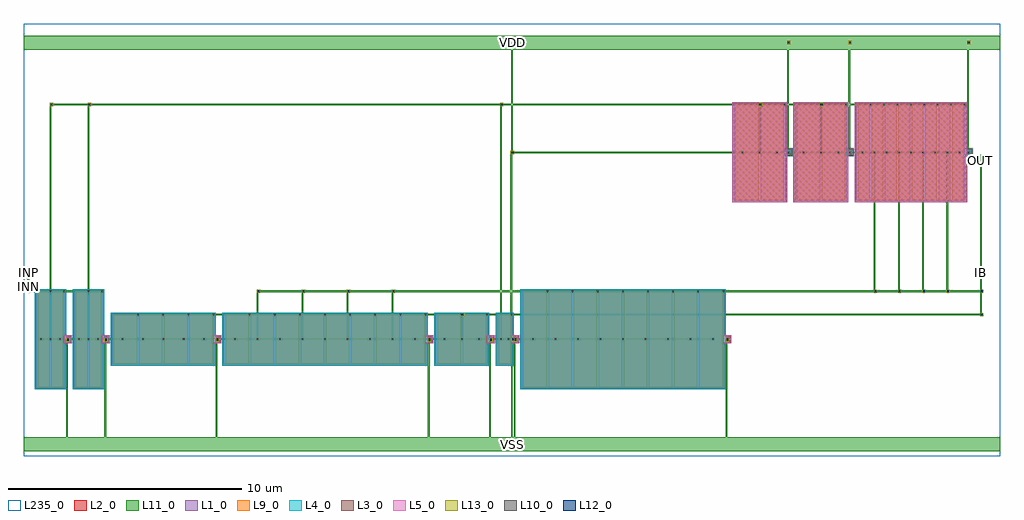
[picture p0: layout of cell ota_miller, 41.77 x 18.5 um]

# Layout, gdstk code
import gdstk
lib = gdstk.Library(unit=1e-6, precision=5e-10)
def R(c, l, rs):  # rectangles x0, y0, x1, y1
    for r in rs: c.add(gdstk.rectangle(r[:2], r[2:], *l))
def A(c, l, x, y, w, h, nx, ny, dx, dy):  # array of equal rectangles
    R(c, l, [(x+i*dx, y+j*dy, x+i*dx+w, y+j*dy+h) for i in range(nx) for j in range(ny)])
def P(c, l, *ps):  # polygons
    for p in ps: c.add(gdstk.Polygon(p, *l))
L1_0 = (1, 0)
L2_0 = (2, 0)
L3_0 = (3, 0)
L4_0 = (4, 0)
L5_0 = (5, 0)
L9_0 = (9, 0)
L10_0 = (10, 0)
L11_0 = (11, 0)
L12_0 = (12, 0)
L13_0 = (13, 0)
L235_0 = (235, 0)

ota_miller = lib.new_cell('ota_miller')
R(ota_miller, L1_0, [(0.53,2.93,1.745,7.07), (2.155,2.93,3.37,7.07), (21.305,2.93,29.97,7.07), (3.78,3.93,8.145,6.07), (8.555,3.93,17.22,6.07), (17.63,3.93,19.845,6.07), (20.255,3.93,20.895,6.07), (1.78,4.9,1.98,5.1), (3.405,4.9,3.605,5.1), (8.18,4.9,8.38,5.1), (17.255,4.9,17.455,5.1), (19.88,4.9,20.08,5.1), (20.93,4.9,21.13,5.1), (30.005,4.9,30.205,5.1), (30.38,10.93,32.595,15.07), (33.005,10.93,35.22,15.07), (35.63,10.93,40.295,15.07), (32.63,12.9,32.83,13.1), (35.255,12.9,35.455,13.1), (40.33,12.9,40.53,13.1)])
R(ota_miller, L2_0, [(0.475,2.875,1.8,7.125), (0.475,2.875,1.8,7.125), (2.1,2.875,3.425,7.125), (2.1,2.875,3.425,7.125), (21.25,2.875,30.025,7.125), (21.25,2.875,30.025,7.125), (3.725,3.875,8.2,6.125), (3.725,3.875,8.2,6.125), (8.5,3.875,17.275,6.125), (8.5,3.875,17.275,6.125), (17.575,3.875,19.9,6.125), (17.575,3.875,19.9,6.125), (20.2,3.875,20.95,6.125), (20.2,3.875,20.95,6.125), (1.73,4.85,2.03,5.15), (3.355,4.85,3.655,5.15), (8.13,4.85,8.43,5.15), (17.205,4.85,17.505,5.15), (19.83,4.85,20.13,5.15), (20.88,4.85,21.18,5.15), (29.955,4.85,30.255,5.15)])
R(ota_miller, L3_0, [(30.325,10.875,32.65,15.125), (30.325,10.875,32.65,15.125), (32.95,10.875,35.275,15.125), (32.95,10.875,35.275,15.125), (35.575,10.875,40.35,15.125), (35.575,10.875,40.35,15.125), (32.58,12.85,32.88,13.15), (35.205,12.85,35.505,13.15), (40.28,12.85,40.58,13.15)])
R(ota_miller, L4_0, [(0.46,2.86,1.815,7.14), (2.085,2.86,3.44,7.14), (21.235,2.86,30.04,7.14), (3.71,3.86,8.215,6.14), (8.485,3.86,17.29,6.14), (17.56,3.86,19.915,6.14), (20.185,3.86,20.965,6.14), (32.56,12.83,32.9,13.17), (35.185,12.83,35.525,13.17), (40.26,12.83,40.6,13.17)])
R(ota_miller, L5_0, [(1.71,4.83,2.05,5.17), (3.335,4.83,3.675,5.17), (8.11,4.83,8.45,5.17), (17.185,4.83,17.525,5.17), (19.81,4.83,20.15,5.17), (20.86,4.83,21.2,5.17), (29.935,4.83,30.275,5.17), (30.31,10.86,32.665,15.14), (32.935,10.86,35.29,15.14), (35.56,10.86,40.365,15.14)])
A(ota_miller, L9_0, 21.375, 2.945, 1, 4.11, 8, 1, 1.075, 0)
A(ota_miller, L9_0, 3.85, 3.945, 1, 2.11, 4, 1, 1.075, 0)
A(ota_miller, L9_0, 8.625, 3.945, 1, 2.11, 8, 1, 1.075, 0)
A(ota_miller, L9_0, 35.7, 10.945, 0.5, 4.11, 8, 1, 0.575, 0)
R(ota_miller, L9_0, [(0.6,2.945,1.1,7.055), (1.175,2.945,1.675,7.055), (2.225,2.945,2.725,7.055), (2.8,2.945,3.3,7.055), (17.7,3.945,18.7,6.055), (18.775,3.945,19.775,6.055), (20.325,3.945,20.825,6.055), (30.45,10.945,31.45,15.055), (31.525,10.945,32.525,15.055), (33.075,10.945,34.075,15.055), (34.15,10.945,35.15,15.055)])
A(ota_miller, L10_0, 0.7, 4.97, 0.065, 0.065, 3, 1, 0.405, 0)
A(ota_miller, L10_0, 2.325, 4.97, 0.065, 0.065, 3, 1, 0.405, 0)
A(ota_miller, L10_0, 5.055, 4.97, 0.065, 0.065, 3, 1, 0.875, 0)
A(ota_miller, L10_0, 11.89, 4.97, 0.065, 0.065, 3, 1, 0.965, 0)
A(ota_miller, L10_0, 17.965, 4.97, 0.065, 0.065, 3, 1, 0.74, 0)
A(ota_miller, L10_0, 24.64, 4.97, 0.065, 0.065, 3, 1, 0.965, 0)
A(ota_miller, L10_0, 4.85, 6.02, 0.065, 0.07, 4, 1, 1.075, 0)
A(ota_miller, L10_0, 9.625, 6.02, 0.065, 0.07, 8, 1, 1.075, 0)
A(ota_miller, L10_0, 22.375, 7.02, 0.065, 0.07, 8, 1, 1.075, 0)
A(ota_miller, L10_0, 30.715, 12.97, 0.065, 0.06, 3, 1, 0.74, 0)
A(ota_miller, L10_0, 33.34, 12.97, 0.065, 0.06, 3, 1, 0.74, 0)
A(ota_miller, L10_0, 35.855, 12.97, 0.065, 0.06, 3, 1, 0.52, 0)
A(ota_miller, L10_0, 37.41, 12.97, 0.065, 0.06, 3, 1, 0.52, 0)
A(ota_miller, L10_0, 38.965, 12.97, 0.065, 0.06, 3, 1, 0.52, 0)
A(ota_miller, L10_0, 36.2, 15.02, 0.065, 0.065, 8, 1, 0.575, 0)
R(ota_miller, L10_0, [(1.85,4.97,1.91,5.035), (3.47,4.97,3.535,5.035), (4.185,4.97,4.25,5.035), (7.675,4.97,7.74,5.035), (8.25,4.97,8.31,5.035), (9.005,4.97,9.07,5.035), (9.965,4.97,10.03,5.035), (10.93,4.97,10.995,5.035), (14.78,4.97,14.845,5.035), (15.745,4.97,15.81,5.035), (16.705,4.97,16.77,5.035), (17.32,4.97,17.39,5.035), (19.95,4.97,20.015,5.035), (20.385,4.97,20.45,5.035), (20.705,4.97,20.77,5.035), (21,4.97,21.065,5.035), (21.755,4.97,21.82,5.035), (22.715,4.97,22.78,5.035), (23.68,4.97,23.745,5.035), (27.53,4.97,27.595,5.035), (28.495,4.97,28.56,5.035), (29.455,4.97,29.52,5.035), (30.075,4.97,30.14,5.035), (18.7,6.02,18.765,6.09), (19.775,6.02,19.84,6.09), (20.825,6.02,20.89,6.09), (1.1,7.02,1.165,7.09), (1.675,7.02,1.74,7.09), (2.725,7.02,2.79,7.09), (3.3,7.02,3.365,7.09), (32.7,12.97,32.76,13.03), (35.325,12.97,35.39,13.03), (40.4,12.97,40.46,13.03), (31.45,15.02,31.515,15.085), (32.525,15.02,32.59,15.085), (34.075,15.02,34.14,15.085), (35.15,15.02,35.215,15.085)])
A(ota_miller, L11_0, 0.665, 4.93, 0.135, 0.14, 3, 1, 0.405, 0)
A(ota_miller, L11_0, 2.29, 4.93, 0.135, 0.14, 3, 1, 0.405, 0)
A(ota_miller, L11_0, 5.02, 4.93, 0.135, 0.14, 3, 1, 0.875, 0)
A(ota_miller, L11_0, 11.855, 4.93, 0.135, 0.14, 3, 1, 0.965, 0)
A(ota_miller, L11_0, 17.93, 4.93, 0.135, 0.14, 3, 1, 0.74, 0)
A(ota_miller, L11_0, 24.605, 4.93, 0.135, 0.14, 3, 1, 0.965, 0)
A(ota_miller, L11_0, 0.7, 4.97, 0.065, 0.065, 3, 1, 0.405, 0)
A(ota_miller, L11_0, 2.325, 4.97, 0.065, 0.065, 3, 1, 0.405, 0)
A(ota_miller, L11_0, 5.055, 4.97, 0.065, 0.065, 3, 1, 0.875, 0)
A(ota_miller, L11_0, 11.89, 4.97, 0.065, 0.065, 3, 1, 0.965, 0)
A(ota_miller, L11_0, 17.965, 4.97, 0.065, 0.065, 3, 1, 0.74, 0)
A(ota_miller, L11_0, 24.64, 4.97, 0.065, 0.065, 3, 1, 0.965, 0)
A(ota_miller, L11_0, 9.965, 5, 0.07, 2.055, 4, 1, 1.925, 0)
A(ota_miller, L11_0, 4.815, 5.99, 0.135, 0.13, 4, 1, 1.075, 0)
A(ota_miller, L11_0, 9.59, 5.99, 0.135, 0.13, 8, 1, 1.075, 0)
A(ota_miller, L11_0, 4.85, 6.02, 0.065, 0.07, 4, 1, 1.075, 0)
A(ota_miller, L11_0, 9.625, 6.02, 0.065, 0.07, 8, 1, 1.075, 0)
A(ota_miller, L11_0, 9.965, 6.985, 0.14, 0.14, 4, 1, 1.925, 0)
A(ota_miller, L11_0, 37.41, 6.985, 0.14, 0.14, 3, 1, 1.035, 0)
A(ota_miller, L11_0, 22.34, 6.99, 0.135, 0.13, 8, 1, 1.075, 0)
A(ota_miller, L11_0, 22.375, 7.02, 0.065, 0.07, 8, 1, 1.075, 0)
A(ota_miller, L11_0, 37.41, 7.055, 0.07, 5.945, 3, 1, 1.035, 0)
A(ota_miller, L11_0, 30.68, 12.93, 0.135, 0.135, 3, 1, 0.74, 0)
A(ota_miller, L11_0, 33.305, 12.93, 0.135, 0.135, 3, 1, 0.74, 0)
A(ota_miller, L11_0, 35.82, 12.93, 0.135, 0.135, 3, 1, 0.52, 0)
A(ota_miller, L11_0, 37.375, 12.93, 0.135, 0.135, 3, 1, 0.52, 0)
A(ota_miller, L11_0, 38.93, 12.93, 0.135, 0.135, 3, 1, 0.52, 0)
A(ota_miller, L11_0, 30.715, 12.97, 0.065, 0.06, 3, 1, 0.74, 0)
A(ota_miller, L11_0, 33.34, 12.97, 0.065, 0.06, 3, 1, 0.74, 0)
A(ota_miller, L11_0, 35.855, 12.97, 0.065, 0.06, 3, 1, 0.52, 0)
A(ota_miller, L11_0, 37.41, 12.97, 0.065, 0.06, 3, 1, 0.52, 0)
A(ota_miller, L11_0, 38.965, 12.97, 0.065, 0.06, 3, 1, 0.52, 0)
A(ota_miller, L11_0, 36.165, 14.985, 0.135, 0.135, 8, 1, 0.575, 0)
A(ota_miller, L11_0, 36.2, 15.02, 0.065, 0.065, 8, 1, 0.575, 0)
R(ota_miller, L11_0, [(0,0.2,41.775,0.8), (0,0.2,41.775,0.8), (1.815,0.47,1.88,0.53), (3.44,0.47,3.505,0.53), (8.215,0.47,8.28,0.53), (17.29,0.47,17.355,0.53), (19.915,0.47,19.98,0.53), (20.855,0.47,20.92,0.53), (20.965,0.47,21.03,0.53), (30.04,0.47,30.105,0.53), (1.81,0.5,1.88,4.97), (3.44,0.5,3.51,4.97), (8.21,0.5,8.28,4.97), (17.29,0.5,17.36,4.97), (19.91,0.5,19.985,4.97), (20.85,0.5,20.92,5), (20.96,0.5,21.03,4.97), (30.04,0.5,30.11,4.97), (1.81,4.9,1.95,5.035), (3.44,4.9,3.58,5.035), (8.21,4.9,8.355,5.035), (17.29,4.9,17.43,5.035), (19.91,4.9,20.055,5.035), (20.96,4.9,21.1,5.035), (30.04,4.9,30.18,5.035), (1.815,4.93,1.95,5.07), (3.435,4.93,3.57,5.07), (4.15,4.93,4.285,5.07), (7.64,4.93,7.775,5.07), (8.21,4.93,8.35,5.07), (8.97,4.93,9.105,5.07), (9.93,4.93,10.065,5.07), (10.895,4.93,11.03,5.07), (14.745,4.93,14.88,5.07), (15.71,4.93,15.845,5.07), (16.67,4.93,16.805,5.07), (17.285,4.93,17.42,5.07), (19.91,4.93,20.05,5.07), (20.35,4.93,20.485,5.07), (20.67,4.93,20.805,5.07), (20.85,4.93,20.99,5.07), (20.96,4.93,21.1,5.07), (21.72,4.93,21.855,5.07), (22.68,4.93,22.815,5.07), (23.645,4.93,23.78,5.07), (27.495,4.93,27.63,5.07), (28.46,4.93,28.595,5.07), (29.42,4.93,29.555,5.07), (30.04,4.93,30.175,5.07), (1.815,4.935,1.88,5), (3.44,4.935,3.505,5), (8.215,4.935,8.28,5), (17.29,4.935,17.355,5), (19.915,4.935,19.98,5), (20.965,4.935,21.03,5), (30.04,4.935,30.105,5), (0.73,4.97,6.835,5.035), (4.185,4.97,4.25,5.035), (4.215,4.97,20.89,5.035), (7.675,4.97,7.74,5.035), (9.005,4.97,9.07,5.035), (9.965,4.97,10.03,5.035), (10.93,4.97,10.995,5.035), (14.78,4.97,14.845,5.035), (15.745,4.97,15.81,5.035), (16.705,4.97,16.77,5.035), (20.38,4.97,20.45,5.035), (20.7,4.97,20.77,5.035), (20.735,4.97,29.49,5.035), (21.755,4.97,21.82,5.035), (22.715,4.97,22.78,5.035), (23.68,4.97,23.745,5.035), (27.53,4.97,27.595,5.035), (28.495,4.97,28.56,5.035), (29.455,4.97,29.52,5.035), (1.1,5,1.175,15.055), (2.73,5,2.8,15.055), (18.7,5,18.77,6.055), (20.38,5,20.45,15.055), (18.7,5.985,18.84,6.125), (40.925,5.985,41.065,6.125), (18.665,5.99,18.8,6.12), (19.74,5.99,19.875,6.12), (20.79,5.99,20.925,6.12), (4.88,6.02,40.96,6.09), (18.7,6.02,18.765,6.09), (19.775,6.02,19.84,6.09), (20.825,6.02,20.89,6.09), (20.82,6.055,20.89,13), (40.925,6.055,40.995,7.85), (0.145,6.985,0.285,7.125), (0.145,6.985,0.285,7.125), (36.37,6.985,36.51,7.125), (40.925,6.985,41.065,7.125), (1.065,6.99,1.2,7.12), (1.64,6.99,1.775,7.12), (2.69,6.99,2.825,7.12), (3.265,6.99,3.4,7.12), (0.15,7,0.215,7.5), (0.18,7.02,3.33,7.09), (0.18,7.02,1.71,7.09), (1.1,7.02,1.165,7.09), (1.675,7.02,1.74,7.09), (2.725,7.02,2.79,7.09), (3.3,7.02,3.365,7.09), (10,7.02,40.96,7.09), (0.145,7.055,0.22,7.85), (0.145,7.055,0.22,7.25), (36.37,7.055,36.44,13), (40.925,7.055,40.995,12.65), (0.15,7.22,0.215,7.28), (0.15,7.6,0.215,8.1), (40.925,7.6,40.99,8.1), (0.15,7.82,0.215,7.88), (40.925,7.82,40.99,7.88), (40.925,12.4,40.99,12.9), (40.925,12.62,40.99,12.68), (20.82,12.93,20.96,13.07), (20.85,12.93,20.99,13.07), (32.665,12.93,32.8,13.07), (35.29,12.93,35.425,13.07), (40.365,12.93,40.5,13.07), (32.665,12.935,32.73,13), (35.29,12.935,35.355,13), (40.365,12.935,40.43,13), (20.86,12.97,40.035,13.03), (32.66,12.97,32.73,17.7), (35.29,12.97,35.36,17.7), (40.365,12.97,40.435,17.7), (20.85,13,20.92,17.7), (31.45,13,31.52,15.055), (34.08,13,34.15,15.055), (1.1,14.985,1.245,15.125), (2.73,14.985,2.87,15.125), (20.38,14.985,20.52,15.125), (31.415,14.985,31.55,15.12), (31.45,14.985,31.59,15.125), (32.49,14.985,32.625,15.12), (34.04,14.985,34.175,15.12), (34.08,14.985,34.22,15.125), (35.115,14.985,35.25,15.12), (1.14,15.02,35.18,15.085), (2.76,15.02,40.26,15.085), (31.45,15.02,31.515,15.085), (32.525,15.02,32.59,15.085), (34.075,15.02,34.14,15.085), (35.15,15.02,35.215,15.085), (0,17.4,41.775,18), (0,17.4,41.775,18), (32.66,17.63,32.8,17.77), (35.29,17.63,35.43,17.77), (40.365,17.63,40.505,17.77), (20.855,17.67,20.92,17.735), (32.665,17.67,32.73,17.735), (35.29,17.67,35.355,17.735), (40.365,17.67,40.43,17.735)])
P(ota_miller, L11_0, [(32.695,17.67),(32.695,17.735),(32.695,17.735),(32.695,17.67)],
  [(35.32,17.67),(35.32,17.735),(35.32,17.735),(35.32,17.67)],
  [(40.4,17.67),(40.4,17.735),(40.4,17.735),(40.4,17.67)],
  [(17.325,4.935),(17.325,5),(17.325,5),(17.325,4.935)],
  [(19.95,4.935),(19.95,5),(19.95,5),(19.95,4.935)],
  [(1.85,4.935),(1.85,5),(1.85,5),(1.85,4.935)],
  [(3.47,4.935),(3.47,5),(3.47,5),(3.47,4.935)],
  [(8.25,4.935),(8.25,5),(8.25,5),(8.25,4.935)],
  [(21,4.935),(21,5),(21,5),(21,4.935)],
  [(30.07,4.935),(30.07,5),(30.07,5),(30.07,4.935)])
A(ota_miller, L12_0, 10, 7.02, 0.07, 0.07, 4, 1, 1.925, 0)
A(ota_miller, L12_0, 36.41, 7.02, 0.07, 0.07, 3, 1, 1.035, 0)
R(ota_miller, L12_0, [(1.85,4.93,1.92,5.005), (3.47,4.93,3.54,5.005), (8.25,4.93,8.32,5.005), (17.325,4.93,17.395,5.005), (19.95,4.93,20.02,5.005), (21,4.93,21.07,5.005), (30.07,4.93,30.14,5.005), (20.89,4.965,20.96,5.035), (18.74,6.02,18.81,6.09), (40.96,6.02,41.03,6.09), (0.18,7.02,0.25,7.09), (0.18,7.02,0.25,7.09), (39.515,7.02,39.59,7.09), (40.96,7.02,41.03,7.09), (20.86,12.965,20.93,13.035), (20.89,12.965,20.96,13.035), (1.14,15.02,1.21,15.09), (2.76,15.02,2.83,15.09), (20.415,15.02,20.485,15.09), (31.49,15.02,31.56,15.09), (34.11,15.02,34.18,15.09), (32.695,17.665,32.765,17.735), (35.32,17.665,35.39,17.735), (40.4,17.665,40.47,17.735)])
A(ota_miller, L13_0, 9.965, 6.985, 0.14, 0.14, 4, 1, 1.925, 0)
A(ota_miller, L13_0, 37.41, 6.985, 0.14, 0.14, 3, 1, 1.035, 0)
R(ota_miller, L13_0, [(1.81,4.9,1.95,5.035), (3.44,4.9,3.58,5.035), (8.21,4.9,8.355,5.035), (17.29,4.9,17.43,5.035), (19.91,4.9,20.055,5.035), (20.96,4.9,21.1,5.035), (30.04,4.9,30.18,5.035), (20.85,4.93,20.99,5.07), (18.7,5.985,18.84,6.125), (40.925,5.985,41.065,6.125), (0.145,6.985,0.285,7.125), (0.145,6.985,0.285,7.125), (36.37,6.985,36.51,7.125), (40.925,6.985,41.065,7.125), (20.82,12.93,20.96,13.07), (20.85,12.93,20.99,13.07), (1.1,14.985,1.245,15.125), (2.73,14.985,2.87,15.125), (20.38,14.985,20.52,15.125), (31.45,14.985,31.59,15.125), (34.08,14.985,34.22,15.125), (32.66,17.63,32.8,17.77), (35.29,17.63,35.43,17.77), (40.365,17.63,40.505,17.77)])
R(ota_miller, L235_0, [(0,0,41.775,18.5)])
ota_miller.add(gdstk.Label('VDD', (20.89,17.7), layer=11, texttype=1))
ota_miller.add(gdstk.Label('VSS', (20.89,0.5), layer=11, texttype=1))
ota_miller.add(gdstk.Label('INP', (0.18,7.85), layer=11, texttype=1))
ota_miller.add(gdstk.Label('INN', (0.18,7.25), layer=11, texttype=1))
ota_miller.add(gdstk.Label('IB', (40.96,7.85), layer=11, texttype=1))
ota_miller.add(gdstk.Label('OUT', (40.96,12.65), layer=11, texttype=1))

lib.write_gds('ota_miller.gds')
